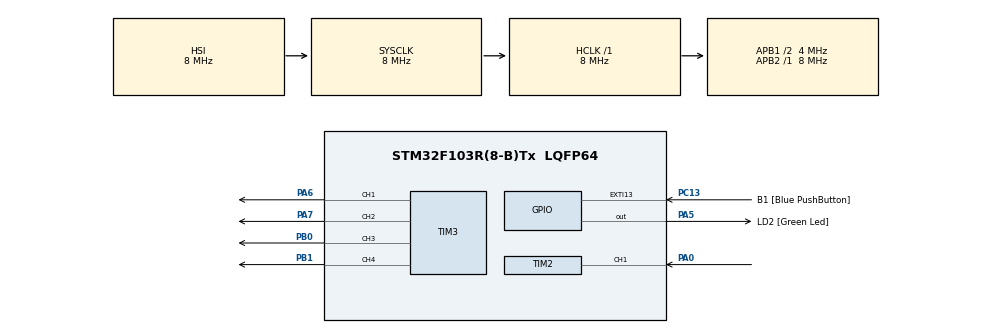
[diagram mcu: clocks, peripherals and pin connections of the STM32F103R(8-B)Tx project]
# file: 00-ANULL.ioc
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Mcu.Family=STM32F1
Mcu.Name=STM32F103R(8-B)Tx
Mcu.Package=LQFP64
NVIC.EXTI15_10_IRQn=true\:0\:0\:false\:false\:true\:true\:true
NVIC.PriorityGroup=NVIC_PRIORITYGROUP_4
NVIC.TIM2_IRQn=true\:0\:0\:false\:false\:true\:true\:true
NVIC.TIM3_IRQn=true\:0\:0\:false\:false\:true\:true\:true
PA0-WKUP.Signal=S_TIM2_CH1_ETR
PA13.GPIO_Label=TMS
PA13.Mode=Serial_Wire
PA13.Signal=SYS_JTMS-SWDIO
PA14.GPIO_Label=TCK
PA14.Mode=Serial_Wire
PA14.Signal=SYS_JTCK-SWCLK
PA2.GPIO_Label=USART_TX
PA2.GPIO_Mode=GPIO_MODE_AF_PP
PA2.GPIO_PuPd=GPIO_NOPULL
PA2.GPIO_Speed=GPIO_SPEED_FREQ_LOW
PA2.Signal=USART2_TX
PA3.GPIO_Label=USART_RX
PA3.GPIO_Mode=GPIO_MODE_AF_PP
PA3.GPIO_PuPd=GPIO_NOPULL
PA3.GPIO_Speed=GPIO_SPEED_FREQ_LOW
PA3.Signal=USART2_RX
PA5.GPIO_Label=LD2 [Green Led]
PA5.GPIO_ModeDefaultOutputPP=GPIO_MODE_OUTPUT_PP
PA5.GPIO_PuPd=GPIO_NOPULL
PA5.GPIO_Speed=GPIO_SPEED_FREQ_LOW
PA5.Signal=GPIO_Output
PA6.Signal=S_TIM3_CH1
PA7.Signal=S_TIM3_CH2
PB0.Signal=S_TIM3_CH3
PB1.Signal=S_TIM3_CH4
PB3.GPIO_Label=SWO
PB3.Signal=SYS_JTDO-TRACESWO
PC13-TAMPER-RTC.GPIO_Label=B1 [Blue PushButton]
PC13-TAMPER-RTC.GPIO_ModeDefaultEXTI=GPIO_MODE_IT_FALLING
PC13-TAMPER-RTC.GPIO_PuPd=GPIO_NOPULL
PC13-TAMPER-RTC.Signal=GPXTI13
PC14-OSC32_IN.Signal=RCC_OSC32_IN
PC15-OSC32_OUT.Signal=RCC_OSC32_OUT
PD0-OSC_IN.Signal=RCC_OSC_IN
PD1-OSC_OUT.Signal=RCC_OSC_OUT
ProjectManager.HeapSize=0x200
ProjectManager.StackSize=0x400
ProjectManager.TargetToolchain=STM32CubeIDE
RCC.AHBFreq_Value=8000000
RCC.APB1CLKDivider=RCC_HCLK_DIV2
RCC.APB1Freq_Value=4000000
RCC.APB1TimFreq_Value=8000000
RCC.APB2Freq_Value=8000000
RCC.APB2TimFreq_Value=8000000
RCC.HCLKFreq_Value=8000000
RCC.PLLMUL=RCC_PLL_MUL16
RCC.SYSCLKFreq_VALUE=8000000
RCC.USBFreq_Value=64000000
SH.S_TIM2_CH1_ETR.0=TIM2_CH1,Input_Capture1_from_TI1
SH.S_TIM3_CH1.0=TIM3_CH1,Output Compare1 CH1
SH.S_TIM3_CH2.0=TIM3_CH2,Output Compare2 CH2
SH.S_TIM3_CH3.0=TIM3_CH3,Output Compare3 CH3
SH.S_TIM3_CH4.0=TIM3_CH4,Output Compare4 CH4
TIM2.Channel-Input_Capture1_from_TI1=TIM_CHANNEL_1
TIM2.Period=0xffff
TIM2.Prescaler=0
TIM3.Channel-Output\ Compare1\ CH1=TIM_CHANNEL_1
TIM3.Channel-Output\ Compare2\ CH2=TIM_CHANNEL_2
TIM3.Channel-Output\ Compare3\ CH3=TIM_CHANNEL_3
TIM3.Channel-Output\ Compare4\ CH4=TIM_CHANNEL_4
VP_TIM2_VS_ClockSourceINT.Mode=Internal
VP_TIM3_VS_ClockSourceINT.Mode=Internal
board=NUCLEO-F103RB

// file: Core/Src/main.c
/* USER CODE BEGIN Header */
/**
  ******************************************************************************
  * @file           : main.c
  * @brief          : Main program body
  ******************************************************************************
  * @attention
  *
  * <h2><center>&copy; Copyright (c) 2020 STMicroelectronics.
  * All rights reserved.</center></h2>
  *
  * This software component is licensed by ST under BSD 3-Clause license,
  * the "License"; You may not use this file except in compliance with the
  * License. You may obtain a copy of the License at:
  *                        opensource.org/licenses/BSD-3-Clause
  *
  ******************************************************************************
  */
/* USER CODE END Header */

#include "main.h"

TIM_HandleTypeDef htim2;
TIM_HandleTypeDef htim3;

/* USER CODE BEGIN PV */
volatile uint32_t pulse1_value = 25000; //to produce 500Hz	PB4 CH1
volatile uint32_t pulse2_value = 12500; //to produce 1000HZ PB5 CH2
volatile uint32_t pulse3_value = 6250;  //to produce 2000Hz PB0 CH3
volatile uint32_t pulse4_value = 3125;  //to produce 4000Hz PB1 CH4
volatile uint32_t ccr_content;
/* USER CODE END PV */

void SystemClock_Config(void);
static void MX_GPIO_Init(void);
static void MX_TIM2_Init(void);
static void MX_TIM3_Init(void);

int main(void)
{

  /* MCU Configuration--------------------------------------------------------*/

  /* Reset of all peripherals, Initializes the Flash interface and the Systick. */
  HAL_Init();

  /* Configure the system clock */
  SystemClock_Config();

  /* Initialize all configured peripherals */
  MX_GPIO_Init();
  MX_TIM2_Init();
  MX_TIM3_Init();
  /* USER CODE BEGIN 2 */
  HAL_TIM_OC_Start_IT(&htim3, TIM_CHANNEL_1);
  HAL_TIM_OC_Start_IT(&htim3, TIM_CHANNEL_2);
  HAL_TIM_OC_Start_IT(&htim3, TIM_CHANNEL_3);
  HAL_TIM_OC_Start_IT(&htim3, TIM_CHANNEL_4);
  /* USER CODE END 2 */

  /* Infinite loop */
  while (1)
  {

  }
}

void SystemClock_Config(void)
{
  RCC_OscInitTypeDef RCC_OscInitStruct = {0};
  RCC_ClkInitTypeDef RCC_ClkInitStruct = {0};

  /** Initializes the CPU, AHB and APB busses clocks
  */
  RCC_OscInitStruct.OscillatorType = RCC_OSCILLATORTYPE_HSI;
  RCC_OscInitStruct.HSIState = RCC_HSI_ON;
  RCC_OscInitStruct.HSICalibrationValue = RCC_HSICALIBRATION_DEFAULT;
  RCC_OscInitStruct.PLL.PLLState = RCC_PLL_NONE;
  if (HAL_RCC_OscConfig(&RCC_OscInitStruct) != HAL_OK)
  {
    Error_Handler();
  }
  /** Initializes the CPU, AHB and APB busses clocks
  */
  RCC_ClkInitStruct.ClockType = RCC_CLOCKTYPE_HCLK|RCC_CLOCKTYPE_SYSCLK
                              |RCC_CLOCKTYPE_PCLK1|RCC_CLOCKTYPE_PCLK2;
  RCC_ClkInitStruct.SYSCLKSource = RCC_SYSCLKSOURCE_HSI;
  RCC_ClkInitStruct.AHBCLKDivider = RCC_SYSCLK_DIV1;
  RCC_ClkInitStruct.APB1CLKDivider = RCC_HCLK_DIV2;
  RCC_ClkInitStruct.APB2CLKDivider = RCC_HCLK_DIV1;

  if (HAL_RCC_ClockConfig(&RCC_ClkInitStruct, FLASH_LATENCY_0) != HAL_OK)
  {
    Error_Handler();
  }
}

static void MX_TIM2_Init(void)
{

  TIM_ClockConfigTypeDef sClockSourceConfig = {0};
  TIM_MasterConfigTypeDef sMasterConfig = {0};
  TIM_IC_InitTypeDef sConfigIC = {0};

  htim2.Instance = TIM2;
  htim2.Init.Prescaler = 1;
  htim2.Init.CounterMode = TIM_COUNTERMODE_UP;
  htim2.Init.Period = 0xffff;
  htim2.Init.ClockDivision = TIM_CLOCKDIVISION_DIV1;
  htim2.Init.AutoReloadPreload = TIM_AUTORELOAD_PRELOAD_DISABLE;
  if (HAL_TIM_Base_Init(&htim2) != HAL_OK)
  {
    Error_Handler();
  }
  sClockSourceConfig.ClockSource = TIM_CLOCKSOURCE_INTERNAL;
  if (HAL_TIM_ConfigClockSource(&htim2, &sClockSourceConfig) != HAL_OK)
  {
    Error_Handler();
  }
  if (HAL_TIM_IC_Init(&htim2) != HAL_OK)
  {
    Error_Handler();
  }
  sMasterConfig.MasterOutputTrigger = TIM_TRGO_RESET;
  sMasterConfig.MasterSlaveMode = TIM_MASTERSLAVEMODE_DISABLE;
  if (HAL_TIMEx_MasterConfigSynchronization(&htim2, &sMasterConfig) != HAL_OK)
  {
    Error_Handler();
  }
  sConfigIC.ICPolarity = TIM_INPUTCHANNELPOLARITY_RISING;
  sConfigIC.ICSelection = TIM_ICSELECTION_DIRECTTI;
  sConfigIC.ICPrescaler = TIM_ICPSC_DIV1;
  sConfigIC.ICFilter = 0;
  if (HAL_TIM_IC_ConfigChannel(&htim2, &sConfigIC, TIM_CHANNEL_1) != HAL_OK)
  {
    Error_Handler();
  }

}

static void MX_TIM3_Init(void)
{

  TIM_ClockConfigTypeDef sClockSourceConfig = {0};
  TIM_MasterConfigTypeDef sMasterConfig = {0};
  TIM_OC_InitTypeDef sConfigOC = {0};

  htim3.Instance = TIM3;
  htim3.Init.Prescaler = 1;
  htim3.Init.CounterMode = TIM_COUNTERMODE_UP;
  htim3.Init.Period = 0xffff;
  htim3.Init.ClockDivision = TIM_CLOCKDIVISION_DIV1;
  htim3.Init.AutoReloadPreload = TIM_AUTORELOAD_PRELOAD_DISABLE;
  if (HAL_TIM_Base_Init(&htim3) != HAL_OK)
  {
    Error_Handler();
  }
  sClockSourceConfig.ClockSource = TIM_CLOCKSOURCE_INTERNAL;
  if (HAL_TIM_ConfigClockSource(&htim3, &sClockSourceConfig) != HAL_OK)
  {
    Error_Handler();
  }
  if (HAL_TIM_OC_Init(&htim3) != HAL_OK)
  {
    Error_Handler();
  }
  sMasterConfig.MasterOutputTrigger = TIM_TRGO_RESET;
  sMasterConfig.MasterSlaveMode = TIM_MASTERSLAVEMODE_DISABLE;
  if (HAL_TIMEx_MasterConfigSynchronization(&htim3, &sMasterConfig) != HAL_OK)
  {
    Error_Handler();
  }

  sConfigOC.OCMode = TIM_OCMODE_TOGGLE;
  sConfigOC.OCPolarity = TIM_OCPOLARITY_HIGH;
  sConfigOC.OCFastMode = TIM_OCFAST_DISABLE;
  sConfigOC.Pulse = pulse1_value;
  if (HAL_TIM_OC_ConfigChannel(&htim3, &sConfigOC, TIM_CHANNEL_1) != HAL_OK)
  {
    Error_Handler();
  }

  sConfigOC.Pulse = pulse2_value;
  if (HAL_TIM_OC_ConfigChannel(&htim3, &sConfigOC, TIM_CHANNEL_2) != HAL_OK)
  {
    Error_Handler();
  }

  sConfigOC.Pulse = pulse3_value;
  if (HAL_TIM_OC_ConfigChannel(&htim3, &sConfigOC, TIM_CHANNEL_3) != HAL_OK)
  {
    Error_Handler();
  }

  sConfigOC.Pulse = pulse4_value;
  if (HAL_TIM_OC_ConfigChannel(&htim3, &sConfigOC, TIM_CHANNEL_4) != HAL_OK)
  {
    Error_Handler();
  }
  HAL_TIM_MspPostInit(&htim3);

}

static void MX_GPIO_Init(void)
{
  GPIO_InitTypeDef GPIO_InitStruct = {0};

  /* GPIO Ports Clock Enable */
  __HAL_RCC_GPIOC_CLK_ENABLE();
  __HAL_RCC_GPIOD_CLK_ENABLE();
  __HAL_RCC_GPIOA_CLK_ENABLE();
  __HAL_RCC_GPIOB_CLK_ENABLE();

  /*Configure GPIO pin Output Level */
  HAL_GPIO_WritePin(LD2_GPIO_Port, LD2_Pin, GPIO_PIN_RESET);

  /*Configure GPIO pin : B1_Pin */
  GPIO_InitStruct.Pin = B1_Pin;
  GPIO_InitStruct.Mode = GPIO_MODE_IT_FALLING;
  GPIO_InitStruct.Pull = GPIO_NOPULL;
  HAL_GPIO_Init(B1_GPIO_Port, &GPIO_InitStruct);

  /*Configure GPIO pins : USART_TX_Pin USART_RX_Pin */
  GPIO_InitStruct.Pin = USART_TX_Pin|USART_RX_Pin;
  GPIO_InitStruct.Mode = GPIO_MODE_AF_PP;
  GPIO_InitStruct.Speed = GPIO_SPEED_FREQ_LOW;
  HAL_GPIO_Init(GPIOA, &GPIO_InitStruct);

  /*Configure GPIO pin : LD2_Pin */
  GPIO_InitStruct.Pin = LD2_Pin;
  GPIO_InitStruct.Mode = GPIO_MODE_OUTPUT_PP;
  GPIO_InitStruct.Pull = GPIO_NOPULL;
  GPIO_InitStruct.Speed = GPIO_SPEED_FREQ_LOW;
  HAL_GPIO_Init(LD2_GPIO_Port, &GPIO_InitStruct);

  /* EXTI interrupt init*/
  HAL_NVIC_SetPriority(EXTI15_10_IRQn, 0, 0);
  HAL_NVIC_EnableIRQ(EXTI15_10_IRQn);

}

/* USER CODE BEGIN 4 */

void HAL_TIM_OC_DelayElapsedCallback(TIM_HandleTypeDef *htim)
{
  /* TIM3_CH1 toggling with frequency = 500 Hz */
  if(htim->Channel == HAL_TIM_ACTIVE_CHANNEL_1)
  {
	   ccr_content = HAL_TIM_ReadCapturedValue(htim,TIM_CHANNEL_1);
	   __HAL_TIM_SET_COMPARE(htim,TIM_CHANNEL_1,ccr_content+pulse1_value);
  }

  /* TIM3_CH2 toggling with frequency = 1000 Hz */
  if(htim->Channel == HAL_TIM_ACTIVE_CHANNEL_2)
  {
	   ccr_content = HAL_TIM_ReadCapturedValue(htim,TIM_CHANNEL_2);
	   __HAL_TIM_SET_COMPARE(htim,TIM_CHANNEL_2,ccr_content+pulse2_value);

  }

  /* TIM3_CH3 toggling with frequency = 2000 Hz */
  if(htim->Channel == HAL_TIM_ACTIVE_CHANNEL_3)
  {
	   ccr_content = HAL_TIM_ReadCapturedValue(htim,TIM_CHANNEL_3);
	   __HAL_TIM_SET_COMPARE(htim,TIM_CHANNEL_3,ccr_content+pulse3_value);

  }

  /* TIM3_CH4 toggling with frequency = 4000 Hz */
  if(htim->Channel == HAL_TIM_ACTIVE_CHANNEL_4)
  {
	    ccr_content = HAL_TIM_ReadCapturedValue(htim,TIM_CHANNEL_4);
	   __HAL_TIM_SET_COMPARE(htim,TIM_CHANNEL_4,ccr_content+pulse4_value);

  }
}
/* USER CODE END 4 */

void Error_Handler(void)
{
}

/************************ (C) COPYRIGHT STMicroelectronics *****END OF FILE****/
